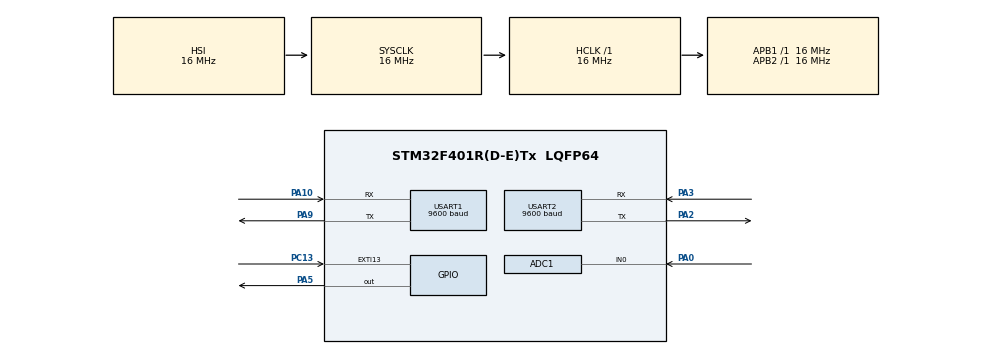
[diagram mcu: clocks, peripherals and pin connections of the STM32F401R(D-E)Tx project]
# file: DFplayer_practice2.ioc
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ADC1.Channel-2\#ChannelRegularConversion=ADC_CHANNEL_0
ADC1.NbrOfConversionFlag=1
ADC1.Rank-2\#ChannelRegularConversion=1
ADC1.SamplingTime-2\#ChannelRegularConversion=ADC_SAMPLETIME_3CYCLES
ADC1.master=1
Mcu.Family=STM32F4
Mcu.Name=STM32F401R(D-E)Tx
Mcu.Package=LQFP64
NVIC.ADC_IRQn=true\:2\:0\:true\:false\:true\:true\:true
NVIC.EXTI15_10_IRQn=true\:1\:0\:true\:false\:true\:true\:true
NVIC.PriorityGroup=NVIC_PRIORITYGROUP_4
NVIC.USART1_IRQn=true\:1\:0\:true\:false\:true\:true\:true
NVIC.USART2_IRQn=true\:1\:0\:true\:false\:true\:true\:true
PA0-WKUP.Signal=ADCx_IN0
PA10.Mode=Asynchronous
PA10.Signal=USART1_RX
PA2.Mode=Asynchronous
PA2.Signal=USART2_TX
PA3.Mode=Asynchronous
PA3.Signal=USART2_RX
PA5.PinState=GPIO_PIN_SET
PA5.Signal=GPIO_Output
PA9.Mode=Asynchronous
PA9.Signal=USART1_TX
PC13-ANTI_TAMP.GPIO_ModeDefaultEXTI=GPIO_MODE_IT_FALLING
PC13-ANTI_TAMP.Signal=GPXTI13
ProjectManager.HeapSize=0x200
ProjectManager.StackSize=0x400
ProjectManager.TargetToolchain=TrueSTUDIO
RCC.AHBFreq_Value=16000000
RCC.APB1Freq_Value=16000000
RCC.APB2Freq_Value=16000000
RCC.CortexFreq_Value=16000000
RCC.HSE_VALUE=25000000
RCC.HSI_VALUE=16000000
RCC.LSE_VALUE=32768
RCC.SYSCLKFreq_VALUE=16000000
RCC.VCOOutputFreq_Value=192000000
SH.ADCx_IN0.0=ADC1_IN0,IN0
USART1.BaudRate=9600
USART1.VirtualMode=VM_ASYNC
USART2.BaudRate=9600
USART2.VirtualMode=VM_ASYNC
board=custom

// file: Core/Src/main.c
/* USER CODE BEGIN Header */
/**
  ******************************************************************************
  * @file           : main.c
  * @brief          : Main program body
  ******************************************************************************
  * @attention
  *
  * <h2><center>&copy; Copyright (c) 2021 STMicroelectronics.
  * All rights reserved.</center></h2>
  *
  * This software component is licensed by ST under BSD 3-Clause license,
  * the "License"; You may not use this file except in compliance with the
  * License. You may obtain a copy of the License at:
  *                        opensource.org/licenses/BSD-3-Clause
  *
  ******************************************************************************
	2021/7/11
	仕様：青ボタンを押すと、DFplayerで次の曲が再生
	　　　　AD変換で、可変抵抗を回すと、音量を変更する。
	　　　　LED：ON
	使用マイコンボード：nucleo f401re

	使用PIN：
	PC_13：ボタン
	PA_0：AD変換入力
	PA_2：USART2_TX
	PA_3：USART2_RX
	PA_5：LED ON
	PA_10：USART1_RX
    PA_10：USART1_TX
  */
/* USER CODE END Header */
#include "main.h"

/* USER CODE BEGIN Includes */
#include <string.h>
#include <stdio.h>
/* USER CODE END Includes */

ADC_HandleTypeDef hadc1;

UART_HandleTypeDef huart1;
UART_HandleTypeDef huart2;

void SystemClock_Config(void);
static void MX_GPIO_Init(void);
static void MX_USART1_UART_Init(void);
static void MX_USART2_UART_Init(void);
static void MX_ADC1_Init(void);

/* USER CODE BEGIN 0 */

int __io_putchar(int c) {
  if( c == '\n' ) {
    int b = '\r';
    HAL_UART_Transmit(&huart2,(uint8_t*)&b, 1, 1);
  }
  HAL_UART_Transmit(&huart2,(uint8_t*)&c, 1, 1);
  return 0;
}

//青ボタンスイッチよう変数
 __IO uint8_t sw1;
 //AD変換用変数：可変抵抗の電圧値を入力
  __IO uint32_t analogValue;
/* USER CODE END 0 */

int main(void)
{

  /* MCU Configuration--------------------------------------------------------*/

  /* Reset of all peripherals, Initializes the Flash interface and the Systick. */
  HAL_Init();

  /* Configure the system clock */
  SystemClock_Config();

  /* Initialize all configured peripherals */
  MX_GPIO_Init();
  MX_USART1_UART_Init();
  MX_USART2_UART_Init();
  MX_ADC1_Init();
  /* USER CODE BEGIN 2 */
  //標準出力stdoutにNULLを指定
  setbuf(stdout,NULL);

#if 0
  volume1 = 15;   //確認用変数
  uint8_t vol_set[]={0x7E,0xFF,0x06,0x06,0x00,0x00,volume1,0xEF};  //UART送信データ　音量
  HAL_UART_Transmit(&huart1,vol_set,sizeof(vol_set),100);

#else

  //定数宣言
  const int AD = 4096;		//AD変換数値変更用
  const int VOLMAX = 0x1E;  //音量最大：30

  //変数宣言
  uint8_t volume1=0; //音量用変数
  uint8_t volume2=0; //音量保管用変数
  //配列の宣言
  //uint8_t vol_set[]={};  //UART送信データ格納用配列：音量送信用
  uint8_t next_set[]={0x7E,0xFF,0x06,0x01,0x00,0x00,0x00,0xEF};   //UART送信データ格納用配列：次の曲の再生

  /* USER CODE END 2 */

  /* Infinite loop */
  while (1)
  {

    /* USER CODE BEGIN 3 */

	  //AD変換開始
	  HAL_ADC_Start(&hadc1);
	  //ポーリング処理
	  if(HAL_ADC_PollForConversion(&hadc1,1000)==HAL_OK)
	  {
		  analogValue = HAL_ADC_GetValue(&hadc1);
		  volume1 = analogValue*VOLMAX/AD;  //最大4096→0x1Eに変換
	  }
	  //AD変換終了
	  HAL_ADC_Stop(&hadc1);
	  uint8_t vol_set[]={0x7E,0xFF,0x06,0x06,0x00,0x00,volume1,0xEF};  //UART送信データ　音量

	   //volume変化時に音量調整
	   if(volume1 != volume2){
		  printf("vol1:%d",volume1);
		  HAL_UART_Transmit(&huart1,vol_set,sizeof(vol_set),100);
		  volume2 = volume1;
	   }
  }
#endif
  /* USER CODE END 3 */
}

void SystemClock_Config(void)
{
  RCC_OscInitTypeDef RCC_OscInitStruct = {0};
  RCC_ClkInitTypeDef RCC_ClkInitStruct = {0};

  /** Configure the main internal regulator output voltage
  */
  __HAL_RCC_PWR_CLK_ENABLE();
  __HAL_PWR_VOLTAGESCALING_CONFIG(PWR_REGULATOR_VOLTAGE_SCALE2);
  /** Initializes the RCC Oscillators according to the specified parameters
  * in the RCC_OscInitTypeDef structure.
  */
  RCC_OscInitStruct.OscillatorType = RCC_OSCILLATORTYPE_HSI;
  RCC_OscInitStruct.HSIState = RCC_HSI_ON;
  RCC_OscInitStruct.HSICalibrationValue = RCC_HSICALIBRATION_DEFAULT;
  RCC_OscInitStruct.PLL.PLLState = RCC_PLL_NONE;
  if (HAL_RCC_OscConfig(&RCC_OscInitStruct) != HAL_OK)
  {
    Error_Handler();
  }
  /** Initializes the CPU, AHB and APB buses clocks
  */
  RCC_ClkInitStruct.ClockType = RCC_CLOCKTYPE_HCLK|RCC_CLOCKTYPE_SYSCLK
                              |RCC_CLOCKTYPE_PCLK1|RCC_CLOCKTYPE_PCLK2;
  RCC_ClkInitStruct.SYSCLKSource = RCC_SYSCLKSOURCE_HSI;
  RCC_ClkInitStruct.AHBCLKDivider = RCC_SYSCLK_DIV1;
  RCC_ClkInitStruct.APB1CLKDivider = RCC_HCLK_DIV1;
  RCC_ClkInitStruct.APB2CLKDivider = RCC_HCLK_DIV1;

  if (HAL_RCC_ClockConfig(&RCC_ClkInitStruct, FLASH_LATENCY_0) != HAL_OK)
  {
    Error_Handler();
  }
}

static void MX_ADC1_Init(void)
{

  ADC_ChannelConfTypeDef sConfig = {0};

  /** Configure the global features of the ADC (Clock, Resolution, Data Alignment and number of conversion)
  */
  hadc1.Instance = ADC1;
  hadc1.Init.ClockPrescaler = ADC_CLOCK_SYNC_PCLK_DIV2;
  hadc1.Init.Resolution = ADC_RESOLUTION_12B;
  hadc1.Init.ScanConvMode = DISABLE;
  hadc1.Init.ContinuousConvMode = DISABLE;
  hadc1.Init.DiscontinuousConvMode = DISABLE;
  hadc1.Init.ExternalTrigConvEdge = ADC_EXTERNALTRIGCONVEDGE_NONE;
  hadc1.Init.ExternalTrigConv = ADC_SOFTWARE_START;
  hadc1.Init.DataAlign = ADC_DATAALIGN_RIGHT;
  hadc1.Init.NbrOfConversion = 1;
  hadc1.Init.DMAContinuousRequests = DISABLE;
  hadc1.Init.EOCSelection = ADC_EOC_SINGLE_CONV;
  if (HAL_ADC_Init(&hadc1) != HAL_OK)
  {
    Error_Handler();
  }
  /** Configure for the selected ADC regular channel its corresponding rank in the sequencer and its sample time.
  */
  sConfig.Channel = ADC_CHANNEL_0;
  sConfig.Rank = 1;
  sConfig.SamplingTime = ADC_SAMPLETIME_3CYCLES;
  if (HAL_ADC_ConfigChannel(&hadc1, &sConfig) != HAL_OK)
  {
    Error_Handler();
  }

}

static void MX_USART1_UART_Init(void)
{

  huart1.Instance = USART1;
  huart1.Init.BaudRate = 9600;
  huart1.Init.WordLength = UART_WORDLENGTH_8B;
  huart1.Init.StopBits = UART_STOPBITS_1;
  huart1.Init.Parity = UART_PARITY_NONE;
  huart1.Init.Mode = UART_MODE_TX_RX;
  huart1.Init.HwFlowCtl = UART_HWCONTROL_NONE;
  huart1.Init.OverSampling = UART_OVERSAMPLING_16;
  if (HAL_UART_Init(&huart1) != HAL_OK)
  {
    Error_Handler();
  }

}

static void MX_USART2_UART_Init(void)
{

  huart2.Instance = USART2;
  huart2.Init.BaudRate = 9600;
  huart2.Init.WordLength = UART_WORDLENGTH_8B;
  huart2.Init.StopBits = UART_STOPBITS_1;
  huart2.Init.Parity = UART_PARITY_NONE;
  huart2.Init.Mode = UART_MODE_TX_RX;
  huart2.Init.HwFlowCtl = UART_HWCONTROL_NONE;
  huart2.Init.OverSampling = UART_OVERSAMPLING_16;
  if (HAL_UART_Init(&huart2) != HAL_OK)
  {
    Error_Handler();
  }

}

static void MX_GPIO_Init(void)
{
  GPIO_InitTypeDef GPIO_InitStruct = {0};

  /* GPIO Ports Clock Enable */
  __HAL_RCC_GPIOC_CLK_ENABLE();
  __HAL_RCC_GPIOA_CLK_ENABLE();

  /*Configure GPIO pin Output Level */
  HAL_GPIO_WritePin(GPIOA, GPIO_PIN_5, GPIO_PIN_SET);

  /*Configure GPIO pin : PC13 */
  GPIO_InitStruct.Pin = GPIO_PIN_13;
  GPIO_InitStruct.Mode = GPIO_MODE_IT_FALLING;
  GPIO_InitStruct.Pull = GPIO_NOPULL;
  HAL_GPIO_Init(GPIOC, &GPIO_InitStruct);

  /*Configure GPIO pin : PA5 */
  GPIO_InitStruct.Pin = GPIO_PIN_5;
  GPIO_InitStruct.Mode = GPIO_MODE_OUTPUT_PP;
  GPIO_InitStruct.Pull = GPIO_NOPULL;
  GPIO_InitStruct.Speed = GPIO_SPEED_FREQ_LOW;
  HAL_GPIO_Init(GPIOA, &GPIO_InitStruct);

  /* EXTI interrupt init*/
  HAL_NVIC_SetPriority(EXTI15_10_IRQn, 1, 0);
  HAL_NVIC_EnableIRQ(EXTI15_10_IRQn);

}

void Error_Handler(void)
{
  __disable_irq();
  while (1)
  {
  }
}

/************************ (C) COPYRIGHT STMicroelectronics *****END OF FILE****/
